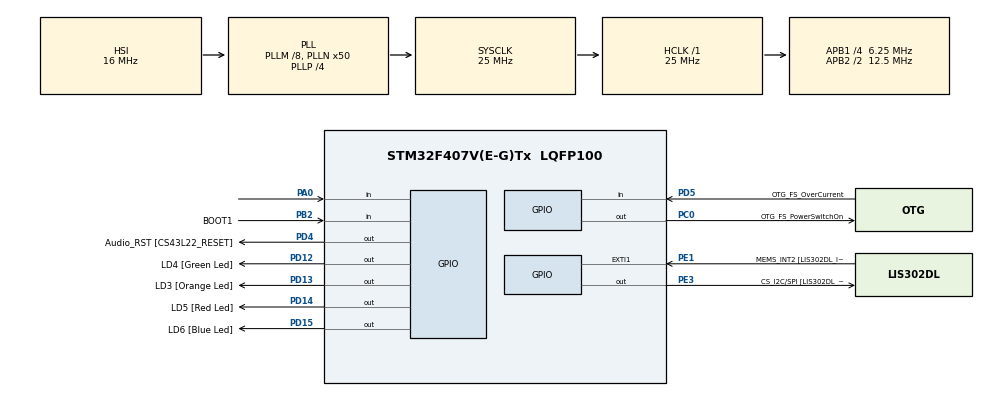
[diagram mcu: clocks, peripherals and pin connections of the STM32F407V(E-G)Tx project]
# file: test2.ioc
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Mcu.Family=STM32F4
Mcu.Name=STM32F407V(E-G)Tx
Mcu.Package=LQFP100
NVIC.PriorityGroup=NVIC_PRIORITYGROUP_0
PA0-WKUP.Signal=GPIO_Input
PA10.GPIO_Label=OTG_FS_ID
PA10.GPIO_Mode=GPIO_MODE_AF_PP
PA10.GPIO_PuPd=GPIO_NOPULL
PA10.GPIO_Speed=GPIO_SPEED_FREQ_LOW
PA10.Signal=USB_OTG_FS_ID
PA11.GPIO_Label=OTG_FS_DM
PA11.GPIO_Mode=GPIO_MODE_AF_PP
PA11.GPIO_PuPd=GPIO_NOPULL
PA11.GPIO_Speed=GPIO_SPEED_FREQ_LOW
PA11.Signal=USB_OTG_FS_DM
PA12.GPIO_Label=OTG_FS_DP
PA12.GPIO_Mode=GPIO_MODE_AF_PP
PA12.GPIO_PuPd=GPIO_NOPULL
PA12.GPIO_Speed=GPIO_SPEED_FREQ_LOW
PA12.Signal=USB_OTG_FS_DP
PA13.GPIO_Label=SWDIO
PA13.Signal=SYS_JTMS-SWDIO
PA14.GPIO_Label=SWCLK
PA14.Signal=SYS_JTCK-SWCLK
PA4.GPIO_Label=I2S3_WS [CS43L22_LRCK]
PA4.GPIO_Mode=GPIO_MODE_AF_PP
PA4.GPIO_PuPd=GPIO_NOPULL
PA4.GPIO_Speed=GPIO_SPEED_FREQ_LOW
PA4.Signal=I2S3_WS
PA5.GPIO_Label=SPI1_SCK [LIS302DL_SCL/SPC]
PA5.GPIO_Mode=GPIO_MODE_AF_PP
PA5.GPIO_PuPd=GPIO_NOPULL
PA5.GPIO_Speed=GPIO_SPEED_FREQ_LOW
PA5.Signal=SPI1_SCK
PA6.GPIO_Label=SPI1_MISO [LIS302DL_SDO]
PA6.GPIO_Mode=GPIO_MODE_AF_PP
PA6.GPIO_PuPd=GPIO_NOPULL
PA6.GPIO_Speed=GPIO_SPEED_FREQ_LOW
PA6.Signal=SPI1_MISO
PA7.GPIO_Label=SPI1_MOSI [LIS302DL_SDA/SDI/SDO]
PA7.GPIO_Mode=GPIO_MODE_AF_PP
PA7.GPIO_PuPd=GPIO_NOPULL
PA7.GPIO_Speed=GPIO_SPEED_FREQ_LOW
PA7.Signal=SPI1_MOSI
PA9.GPIO_Label=VBUS_FS
PA9.GPIO_Mode=GPIO_MODE_INPUT
PA9.GPIO_PuPd=GPIO_NOPULL
PA9.Signal=USB_OTG_FS_VBUS
PB10.GPIO_Label=CLK_IN [MP45DT02_CLK]
PB10.GPIO_Mode=GPIO_MODE_AF_PP
PB10.GPIO_PuPd=GPIO_NOPULL
PB10.GPIO_Speed=GPIO_SPEED_FREQ_LOW
PB10.Signal=I2S2_CK
PB2.GPIO_Label=BOOT1
PB2.GPIO_Mode=GPIO_MODE_INPUT
PB2.GPIO_PuPd=GPIO_NOPULL
PB2.Signal=GPIO_Input
PB3.GPIO_Label=SWO
PB3.Signal=SYS_JTDO-SWO
PB6.GPIO_Label=Audio_SCL [CS43L22_SCL]
PB6.GPIO_Mode=GPIO_MODE_AF_OD
PB6.GPIO_PuPd=GPIO_NOPULL
PB6.GPIO_Speed=GPIO_SPEED_FREQ_LOW
PB6.Signal=I2C1_SCL
PB9.GPIO_Label=Audio_SDA [CS43L22_SDA]
PB9.GPIO_Mode=GPIO_MODE_AF_OD
PB9.GPIO_PuPd=GPIO_NOPULL
PB9.GPIO_Speed=GPIO_SPEED_FREQ_LOW
PB9.Signal=I2C1_SDA
PC0.GPIO_Label=OTG_FS_PowerSwitchOn
PC0.GPIO_PuPd=GPIO_NOPULL
PC0.GPIO_Speed=GPIO_SPEED_FREQ_LOW
PC0.PinState=GPIO_PIN_SET
PC0.Signal=GPIO_Output
PC10.GPIO_Label=I2S3_SCK [CS43L22_SCLK]
PC10.GPIO_Mode=GPIO_MODE_AF_PP
PC10.GPIO_PuPd=GPIO_NOPULL
PC10.GPIO_Speed=GPIO_SPEED_FREQ_LOW
PC10.Signal=I2S3_CK
PC12.GPIO_Label=I2S3_SD [CS43L22_SDIN]
PC12.GPIO_Mode=GPIO_MODE_AF_PP
PC12.GPIO_PuPd=GPIO_NOPULL
PC12.GPIO_Speed=GPIO_SPEED_FREQ_LOW
PC12.Signal=I2S3_SD
PC14-OSC32_IN.GPIO_Label=PC14-OSC32_IN
PC14-OSC32_IN.Signal=RCC_OSC32_IN
PC15-OSC32_OUT.GPIO_Label=PC15-OSC32_OUT
PC15-OSC32_OUT.Signal=RCC_OSC32_OUT
PC3.GPIO_Label=PDM_OUT [MP45DT02_DOUT]
PC3.GPIO_Mode=GPIO_MODE_AF_PP
PC3.GPIO_PuPd=GPIO_NOPULL
PC3.GPIO_Speed=GPIO_SPEED_FREQ_LOW
PC3.Signal=I2S2_SD
PC7.GPIO_Label=I2S3_MCK [CS43L22_MCLK]
PC7.GPIO_Mode=GPIO_MODE_AF_PP
PC7.GPIO_PuPd=GPIO_NOPULL
PC7.GPIO_Speed=GPIO_SPEED_FREQ_LOW
PC7.Signal=I2S3_MCK
PD12.GPIO_Label=LD4 [Green Led]
PD12.GPIO_PuPd=GPIO_NOPULL
PD12.GPIO_Speed=GPIO_SPEED_FREQ_LOW
PD12.Signal=GPIO_Output
PD13.GPIO_Label=LD3 [Orange Led]
PD13.GPIO_PuPd=GPIO_NOPULL
PD13.GPIO_Speed=GPIO_SPEED_FREQ_LOW
PD13.Signal=GPIO_Output
PD14.GPIO_Label=LD5 [Red Led]
PD14.GPIO_PuPd=GPIO_NOPULL
PD14.GPIO_Speed=GPIO_SPEED_FREQ_LOW
PD14.Signal=GPIO_Output
PD15.GPIO_Label=LD6 [Blue Led]
PD15.GPIO_PuPd=GPIO_NOPULL
PD15.GPIO_Speed=GPIO_SPEED_FREQ_LOW
PD15.Signal=GPIO_Output
PD4.GPIO_Label=Audio_RST [CS43L22_RESET]
PD4.GPIO_PuPd=GPIO_NOPULL
PD4.GPIO_Speed=GPIO_SPEED_FREQ_LOW
PD4.Signal=GPIO_Output
PD5.GPIO_Label=OTG_FS_OverCurrent
PD5.GPIO_Mode=GPIO_MODE_INPUT
PD5.GPIO_PuPd=GPIO_NOPULL
PD5.Signal=GPIO_Input
PE1.GPIO_Label=MEMS_INT2 [LIS302DL_INT2]
PE1.GPIO_ModeDefaultEXTI=GPIO_MODE_EVT_RISING
PE1.GPIO_PuPd=GPIO_NOPULL
PE1.Signal=GPXTI1
PE3.GPIO_Label=CS_I2C/SPI [LIS302DL_CS_I2C/SPI]
PE3.GPIO_PuPd=GPIO_NOPULL
PE3.GPIO_Speed=GPIO_SPEED_FREQ_LOW
PE3.Signal=GPIO_Output
PH0-OSC_IN.GPIO_Label=PH0-OSC_IN
PH0-OSC_IN.Signal=RCC_OSC_IN
PH1-OSC_OUT.GPIO_Label=PH1-OSC_OUT
PH1-OSC_OUT.Signal=RCC_OSC_OUT
ProjectManager.HeapSize=0x200
ProjectManager.StackSize=0x400
ProjectManager.TargetToolchain=MDK-ARM V5.32
RCC.48MHZClocksFreq_Value=14285714.285714285
RCC.AHBFreq_Value=25000000
RCC.APB1CLKDivider=RCC_HCLK_DIV4
RCC.APB1Freq_Value=6250000
RCC.APB1TimFreq_Value=12500000
RCC.APB2CLKDivider=RCC_HCLK_DIV2
RCC.APB2Freq_Value=12500000
RCC.APB2TimFreq_Value=25000000
RCC.CortexFreq_Value=25000000
RCC.HCLKFreq_Value=25000000
RCC.HSE_VALUE=8000000
RCC.HSI_VALUE=16000000
RCC.LSE_VALUE=32768
RCC.PLLM=8
RCC.PLLN=50
RCC.PLLP=RCC_PLLP_DIV4
RCC.PLLQ=7
RCC.SYSCLKFreq_VALUE=25000000
RCC.SYSCLKSource=RCC_SYSCLKSOURCE_PLLCLK
RCC.VCOOutputFreq_Value=100000000
board=STM32F407G-DISC1

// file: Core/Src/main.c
/* USER CODE BEGIN Header */
/**
  ******************************************************************************
  * @file           : main.c
  * @brief          : Main program body
  ******************************************************************************
  * @attention
  *
  * Copyright (c) 2024 STMicroelectronics.
  * All rights reserved.
  *
  * This software is licensed under terms that can be found in the LICENSE file
  * in the root directory of this software component.
  * If no LICENSE file comes with this software, it is provided AS-IS.
  *
  ******************************************************************************
  */
/* USER CODE END Header */
#include "main.h"

/* USER CODE BEGIN PD */
#define PD14_off HAL_GPIO_WritePin(GPIOD, GPIO_PIN_14, GPIO_PIN_RESET)
#define PD14_on HAL_GPIO_WritePin(GPIOD, GPIO_PIN_14, GPIO_PIN_SET)
#define LD_Red_on PD14_on
#define LD_Red_off PD14_off

#define PD12_off HAL_GPIO_WritePin(GPIOD, GPIO_PIN_12, GPIO_PIN_RESET)
#define PD12_on HAL_GPIO_WritePin(GPIOD, GPIO_PIN_12, GPIO_PIN_SET)
#define LD_Green_on PD12_on
#define LD_Green_off PD12_off

#define BUTTON_PORT GPIOA
#define BUTTON_PIN GPIO_PIN_0

/* USER CODE END PD */

void SystemClock_Config(void);
static void MX_GPIO_Init(void);
void port_ini(void);

void delay(int n);

/* USER CODE BEGIN 0 */
void port_ini(void)	{
        RCC->AHB1ENR |= RCC_AHB1ENR_GPIODEN;
        GPIOD->MODER = 0x55000000; //on 12-15 PIN for out
        GPIOD->OTYPER = 0;
        GPIOD->OSPEEDR = 0;
        GPIOD->ODR = 0;
}
unsigned int delay_value = 1000000;
void delay(int n)	{
	if (n <= 0) {delay_value = 1000000;}
        while(n>0)
				{--n;
				}
}

/* USER CODE END 0 */

int main(void)
{

  /* MCU Configuration--------------------------------------------------------*/

  /* Reset of all peripherals, Initializes the Flash interface and the Systick. */
  HAL_Init();

  /* Configure the system clock */
  SystemClock_Config();

  /* USER CODE BEGIN SysInit */
		 GPIO_InitTypeDef GPIO_InitStruct = {0};
    GPIO_InitStruct.Pin = BUTTON_PIN;
    GPIO_InitStruct.Mode = GPIO_MODE_INPUT;
    GPIO_InitStruct.Pull = GPIO_PULLUP;
    HAL_GPIO_Init(BUTTON_PORT, &GPIO_InitStruct);
  /* USER CODE END SysInit */

  /* Initialize all configured peripherals */
  MX_GPIO_Init();
  /* USER CODE BEGIN 2 */
		 	port_ini();
  /* USER CODE END 2 */

  /* Infinite loop */
  while (1)
  {
			GPIOD->ODR = 0xC000;
			delay(delay_value);
			GPIOD->ODR = 0x6000;
			delay(delay_value);
			GPIOD->ODR = 0x3000;
			delay(delay_value);
			GPIOD->ODR = 0x9000;
			delay(delay_value);

		if (HAL_GPIO_ReadPin(BUTTON_PORT, BUTTON_PIN) == GPIO_PIN_SET) {
			delay_value /= 2;
		}

  }
}

void SystemClock_Config(void)
{
  RCC_OscInitTypeDef RCC_OscInitStruct = {0};
  RCC_ClkInitTypeDef RCC_ClkInitStruct = {0};

  /** Configure the main internal regulator output voltage
  */
  __HAL_RCC_PWR_CLK_ENABLE();
  __HAL_PWR_VOLTAGESCALING_CONFIG(PWR_REGULATOR_VOLTAGE_SCALE1);
  /** Initializes the RCC Oscillators according to the specified parameters
  * in the RCC_OscInitTypeDef structure.
  */
  RCC_OscInitStruct.OscillatorType = RCC_OSCILLATORTYPE_HSI;
  RCC_OscInitStruct.HSIState = RCC_HSI_ON;
  RCC_OscInitStruct.HSICalibrationValue = RCC_HSICALIBRATION_DEFAULT;
  RCC_OscInitStruct.PLL.PLLState = RCC_PLL_ON;
  RCC_OscInitStruct.PLL.PLLSource = RCC_PLLSOURCE_HSI;
  RCC_OscInitStruct.PLL.PLLM = 8;
  RCC_OscInitStruct.PLL.PLLN = 50;
  RCC_OscInitStruct.PLL.PLLP = RCC_PLLP_DIV4;
  RCC_OscInitStruct.PLL.PLLQ = 7;
  if (HAL_RCC_OscConfig(&RCC_OscInitStruct) != HAL_OK)
  {
    Error_Handler();
  }
  /** Initializes the CPU, AHB and APB buses clocks
  */
  RCC_ClkInitStruct.ClockType = RCC_CLOCKTYPE_HCLK|RCC_CLOCKTYPE_SYSCLK
                              |RCC_CLOCKTYPE_PCLK1|RCC_CLOCKTYPE_PCLK2;
  RCC_ClkInitStruct.SYSCLKSource = RCC_SYSCLKSOURCE_PLLCLK;
  RCC_ClkInitStruct.AHBCLKDivider = RCC_SYSCLK_DIV1;
  RCC_ClkInitStruct.APB1CLKDivider = RCC_HCLK_DIV4;
  RCC_ClkInitStruct.APB2CLKDivider = RCC_HCLK_DIV2;

  if (HAL_RCC_ClockConfig(&RCC_ClkInitStruct, FLASH_LATENCY_0) != HAL_OK)
  {
    Error_Handler();
  }
}

static void MX_GPIO_Init(void)
{
  GPIO_InitTypeDef GPIO_InitStruct = {0};

  /* GPIO Ports Clock Enable */
  __HAL_RCC_GPIOE_CLK_ENABLE();
  __HAL_RCC_GPIOC_CLK_ENABLE();
  __HAL_RCC_GPIOH_CLK_ENABLE();
  __HAL_RCC_GPIOA_CLK_ENABLE();
  __HAL_RCC_GPIOB_CLK_ENABLE();
  __HAL_RCC_GPIOD_CLK_ENABLE();

  /*Configure GPIO pin Output Level */
  HAL_GPIO_WritePin(CS_I2C_SPI_GPIO_Port, CS_I2C_SPI_Pin, GPIO_PIN_RESET);

  /*Configure GPIO pin Output Level */
  HAL_GPIO_WritePin(OTG_FS_PowerSwitchOn_GPIO_Port, OTG_FS_PowerSwitchOn_Pin, GPIO_PIN_SET);

  /*Configure GPIO pin Output Level */
  HAL_GPIO_WritePin(GPIOD, LD4_Pin|LD3_Pin|LD5_Pin|LD6_Pin
                          |Audio_RST_Pin, GPIO_PIN_RESET);

  /*Configure GPIO pin : CS_I2C_SPI_Pin */
  GPIO_InitStruct.Pin = CS_I2C_SPI_Pin;
  GPIO_InitStruct.Mode = GPIO_MODE_OUTPUT_PP;
  GPIO_InitStruct.Pull = GPIO_NOPULL;
  GPIO_InitStruct.Speed = GPIO_SPEED_FREQ_LOW;
  HAL_GPIO_Init(CS_I2C_SPI_GPIO_Port, &GPIO_InitStruct);

  /*Configure GPIO pin : OTG_FS_PowerSwitchOn_Pin */
  GPIO_InitStruct.Pin = OTG_FS_PowerSwitchOn_Pin;
  GPIO_InitStruct.Mode = GPIO_MODE_OUTPUT_PP;
  GPIO_InitStruct.Pull = GPIO_NOPULL;
  GPIO_InitStruct.Speed = GPIO_SPEED_FREQ_LOW;
  HAL_GPIO_Init(OTG_FS_PowerSwitchOn_GPIO_Port, &GPIO_InitStruct);

  /*Configure GPIO pin : PDM_OUT_Pin */
  GPIO_InitStruct.Pin = PDM_OUT_Pin;
  GPIO_InitStruct.Mode = GPIO_MODE_AF_PP;
  GPIO_InitStruct.Pull = GPIO_NOPULL;
  GPIO_InitStruct.Speed = GPIO_SPEED_FREQ_LOW;
  GPIO_InitStruct.Alternate = GPIO_AF5_SPI2;
  HAL_GPIO_Init(PDM_OUT_GPIO_Port, &GPIO_InitStruct);

  /*Configure GPIO pin : PA0 */
  GPIO_InitStruct.Pin = GPIO_PIN_0;
  GPIO_InitStruct.Mode = GPIO_MODE_INPUT;
  GPIO_InitStruct.Pull = GPIO_NOPULL;
  HAL_GPIO_Init(GPIOA, &GPIO_InitStruct);

  /*Configure GPIO pin : I2S3_WS_Pin */
  GPIO_InitStruct.Pin = I2S3_WS_Pin;
  GPIO_InitStruct.Mode = GPIO_MODE_AF_PP;
  GPIO_InitStruct.Pull = GPIO_NOPULL;
  GPIO_InitStruct.Speed = GPIO_SPEED_FREQ_LOW;
  GPIO_InitStruct.Alternate = GPIO_AF6_SPI3;
  HAL_GPIO_Init(I2S3_WS_GPIO_Port, &GPIO_InitStruct);

  /*Configure GPIO pins : SPI1_SCK_Pin SPI1_MISO_Pin SPI1_MOSI_Pin */
  GPIO_InitStruct.Pin = SPI1_SCK_Pin|SPI1_MISO_Pin|SPI1_MOSI_Pin;
  GPIO_InitStruct.Mode = GPIO_MODE_AF_PP;
  GPIO_InitStruct.Pull = GPIO_NOPULL;
  GPIO_InitStruct.Speed = GPIO_SPEED_FREQ_LOW;
  GPIO_InitStruct.Alternate = GPIO_AF5_SPI1;
  HAL_GPIO_Init(GPIOA, &GPIO_InitStruct);

  /*Configure GPIO pin : BOOT1_Pin */
  GPIO_InitStruct.Pin = BOOT1_Pin;
  GPIO_InitStruct.Mode = GPIO_MODE_INPUT;
  GPIO_InitStruct.Pull = GPIO_NOPULL;
  HAL_GPIO_Init(BOOT1_GPIO_Port, &GPIO_InitStruct);

  /*Configure GPIO pin : CLK_IN_Pin */
  GPIO_InitStruct.Pin = CLK_IN_Pin;
  GPIO_InitStruct.Mode = GPIO_MODE_AF_PP;
  GPIO_InitStruct.Pull = GPIO_NOPULL;
  GPIO_InitStruct.Speed = GPIO_SPEED_FREQ_LOW;
  GPIO_InitStruct.Alternate = GPIO_AF5_SPI2;
  HAL_GPIO_Init(CLK_IN_GPIO_Port, &GPIO_InitStruct);

  /*Configure GPIO pins : LD4_Pin LD3_Pin LD5_Pin LD6_Pin
                           Audio_RST_Pin */
  GPIO_InitStruct.Pin = LD4_Pin|LD3_Pin|LD5_Pin|LD6_Pin
                          |Audio_RST_Pin;
  GPIO_InitStruct.Mode = GPIO_MODE_OUTPUT_PP;
  GPIO_InitStruct.Pull = GPIO_NOPULL;
  GPIO_InitStruct.Speed = GPIO_SPEED_FREQ_LOW;
  HAL_GPIO_Init(GPIOD, &GPIO_InitStruct);

  /*Configure GPIO pins : I2S3_MCK_Pin I2S3_SCK_Pin I2S3_SD_Pin */
  GPIO_InitStruct.Pin = I2S3_MCK_Pin|I2S3_SCK_Pin|I2S3_SD_Pin;
  GPIO_InitStruct.Mode = GPIO_MODE_AF_PP;
  GPIO_InitStruct.Pull = GPIO_NOPULL;
  GPIO_InitStruct.Speed = GPIO_SPEED_FREQ_LOW;
  GPIO_InitStruct.Alternate = GPIO_AF6_SPI3;
  HAL_GPIO_Init(GPIOC, &GPIO_InitStruct);

  /*Configure GPIO pin : VBUS_FS_Pin */
  GPIO_InitStruct.Pin = VBUS_FS_Pin;
  GPIO_InitStruct.Mode = GPIO_MODE_INPUT;
  GPIO_InitStruct.Pull = GPIO_NOPULL;
  HAL_GPIO_Init(VBUS_FS_GPIO_Port, &GPIO_InitStruct);

  /*Configure GPIO pins : OTG_FS_ID_Pin OTG_FS_DM_Pin OTG_FS_DP_Pin */
  GPIO_InitStruct.Pin = OTG_FS_ID_Pin|OTG_FS_DM_Pin|OTG_FS_DP_Pin;
  GPIO_InitStruct.Mode = GPIO_MODE_AF_PP;
  GPIO_InitStruct.Pull = GPIO_NOPULL;
  GPIO_InitStruct.Speed = GPIO_SPEED_FREQ_LOW;
  GPIO_InitStruct.Alternate = GPIO_AF10_OTG_FS;
  HAL_GPIO_Init(GPIOA, &GPIO_InitStruct);

  /*Configure GPIO pin : OTG_FS_OverCurrent_Pin */
  GPIO_InitStruct.Pin = OTG_FS_OverCurrent_Pin;
  GPIO_InitStruct.Mode = GPIO_MODE_INPUT;
  GPIO_InitStruct.Pull = GPIO_NOPULL;
  HAL_GPIO_Init(OTG_FS_OverCurrent_GPIO_Port, &GPIO_InitStruct);

  /*Configure GPIO pins : Audio_SCL_Pin Audio_SDA_Pin */
  GPIO_InitStruct.Pin = Audio_SCL_Pin|Audio_SDA_Pin;
  GPIO_InitStruct.Mode = GPIO_MODE_AF_OD;
  GPIO_InitStruct.Pull = GPIO_NOPULL;
  GPIO_InitStruct.Speed = GPIO_SPEED_FREQ_LOW;
  GPIO_InitStruct.Alternate = GPIO_AF4_I2C1;
  HAL_GPIO_Init(GPIOB, &GPIO_InitStruct);

  /*Configure GPIO pin : MEMS_INT2_Pin */
  GPIO_InitStruct.Pin = MEMS_INT2_Pin;
  GPIO_InitStruct.Mode = GPIO_MODE_EVT_RISING;
  GPIO_InitStruct.Pull = GPIO_NOPULL;
  HAL_GPIO_Init(MEMS_INT2_GPIO_Port, &GPIO_InitStruct);

}

void Error_Handler(void)
{
  __disable_irq();
  while (1)
  {
  }
}
